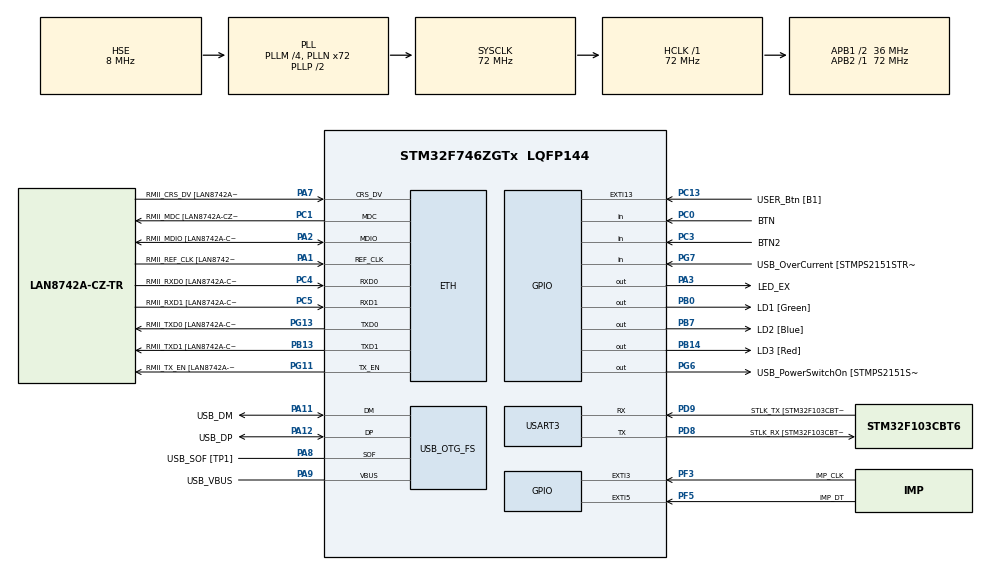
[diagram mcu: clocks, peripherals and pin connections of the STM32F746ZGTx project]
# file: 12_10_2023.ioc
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ETH.MediaInterface=HAL_ETH_RMII_MODE
ETH.PHY_Name=LAN8742A_PHY_ADDRESS
ETH.PHY_Value=0
ETH.PhyAddress=0
Mcu.Family=STM32F7
Mcu.Name=STM32F746ZGTx
Mcu.Package=LQFP144
NVIC.EXTI15_10_IRQn=true\:0\:0\:false\:false\:true\:true\:true\:true
NVIC.PriorityGroup=NVIC_PRIORITYGROUP_4
PA1.GPIO_Label=RMII_REF_CLK [LAN8742A-CZ-TR_REFCLK0]
PA1.Mode=RMII
PA1.Signal=ETH_REF_CLK
PA10.GPIO_Label=USB_ID
PA10.Signal=USB_OTG_FS_ID
PA11.GPIO_Label=USB_DM
PA11.Mode=Device_Only
PA11.Signal=USB_OTG_FS_DM
PA12.GPIO_Label=USB_DP
PA12.Mode=Device_Only
PA12.Signal=USB_OTG_FS_DP
PA13.GPIO_Label=TMS
PA13.Mode=Serial_Wire
PA13.Signal=SYS_JTMS-SWDIO
PA14.GPIO_Label=TCK
PA14.Mode=Serial_Wire
PA14.Signal=SYS_JTCK-SWCLK
PA2.GPIO_Label=RMII_MDIO [LAN8742A-CZ-TR_MDIO]
PA2.Mode=RMII
PA2.Signal=ETH_MDIO
PA3.GPIO_Label=LED_EX
PA3.GPIO_ModeDefaultOutputPP=GPIO_MODE_OUTPUT_PP
PA3.GPIO_PuPd=GPIO_NOPULL
PA3.Signal=GPIO_Output
PA7.GPIO_Label=RMII_CRS_DV [LAN8742A-CZ-TR_CRS_DV]
PA7.Mode=RMII
PA7.Signal=ETH_CRS_DV
PA8.GPIO_Label=USB_SOF [TP1]
PA8.Mode=Activate_SOF_FS
PA8.Signal=USB_OTG_FS_SOF
PA9.GPIO_Label=USB_VBUS
PA9.Mode=Activate_VBUS
PA9.Signal=USB_OTG_FS_VBUS
PB0.GPIO_Label=LD1 [Green]
PB0.Signal=GPIO_Output
PB13.GPIO_Label=RMII_TXD1 [LAN8742A-CZ-TR_TXD1]
PB13.Mode=RMII
PB13.Signal=ETH_TXD1
PB14.GPIO_Label=LD3 [Red]
PB14.Signal=GPIO_Output
PB3.GPIO_Label=SW0
PB3.Signal=SYS_JTDO-SWO
PB7.GPIO_Label=LD2 [Blue]
PB7.Signal=GPIO_Output
PC0.GPIO_Label=BTN
PC0.GPIO_PuPd=GPIO_PULLUP
PC0.Signal=GPIO_Input
PC1.GPIO_Label=RMII_MDC [LAN8742A-CZ-TR_MDC]
PC1.Mode=RMII
PC1.Signal=ETH_MDC
PC13.GPIO_Label=USER_Btn [B1]
PC13.Signal=GPXTI13
PC14/OSC32_IN.Mode=LSE-External-Oscillator
PC14/OSC32_IN.Signal=RCC_OSC32_IN
PC15/OSC32_OUT.Mode=LSE-External-Oscillator
PC15/OSC32_OUT.Signal=RCC_OSC32_OUT
PC3.GPIO_Label=BTN2
PC3.GPIO_PuPd=GPIO_PULLDOWN
PC3.Signal=GPIO_Input
PC4.GPIO_Label=RMII_RXD0 [LAN8742A-CZ-TR_RXD0]
PC4.Mode=RMII
PC4.Signal=ETH_RXD0
PC5.GPIO_Label=RMII_RXD1 [LAN8742A-CZ-TR_RXD1]
PC5.Mode=RMII
PC5.Signal=ETH_RXD1
PD8.GPIO_Label=STLK_RX [STM32F103CBT6_PA3]
PD8.GPIO_PuPd=GPIO_PULLUP
PD8.Mode=Asynchronous
PD8.Signal=USART3_TX
PD9.GPIO_Label=STLK_TX [STM32F103CBT6_PA2]
PD9.GPIO_PuPd=GPIO_PULLUP
PD9.Mode=Asynchronous
PD9.Signal=USART3_RX
PF3.GPIO_Label=IMP_CLK
PF3.GPIO_ModeDefaultEXTI=GPIO_MODE_IT_RISING
PF3.GPIO_PuPd=GPIO_PULLUP
PF3.Signal=GPXTI3
PF5.GPIO_Label=IMP_DT
PF5.GPIO_ModeDefaultEXTI=GPIO_MODE_IT_RISING
PF5.GPIO_PuPd=GPIO_PULLUP
PF5.Signal=GPXTI5
PG11.GPIO_Label=RMII_TX_EN [LAN8742A-CZ-TR_TXEN]
PG11.Mode=RMII
PG11.Signal=ETH_TX_EN
PG13.GPIO_Label=RMII_TXD0 [LAN8742A-CZ-TR_TXD0]
PG13.Mode=RMII
PG13.Signal=ETH_TXD0
PG6.GPIO_Label=USB_PowerSwitchOn [STMPS2151STR_EN]
PG6.Signal=GPIO_Output
PG7.GPIO_Label=USB_OverCurrent [STMPS2151STR_FAULT]
PG7.Signal=GPIO_Input
PH0/OSC_IN.GPIO_Label=MCO [STM32F103CBT6_PA8]
PH0/OSC_IN.Mode=HSE-External-Clock-Source
PH0/OSC_IN.Signal=RCC_OSC_IN
PH1/OSC_OUT.Mode=HSE-External-Clock-Source
PH1/OSC_OUT.Signal=RCC_OSC_OUT
ProjectManager.HeapSize=0x200
ProjectManager.StackSize=0x400
ProjectManager.TargetToolchain=STM32CubeIDE
RCC.48MHZClocksFreq_Value=24000000
RCC.AHBFreq_Value=72000000
RCC.APB1CLKDivider=RCC_HCLK_DIV2
RCC.APB1Freq_Value=36000000
RCC.APB1TimFreq_Value=72000000
RCC.APB2Freq_Value=72000000
RCC.APB2TimFreq_Value=72000000
RCC.CortexFreq_Value=72000000
RCC.HCLKFreq_Value=72000000
RCC.HSE_VALUE=8000000
RCC.HSI_VALUE=16000000
RCC.PLLM=4
RCC.PLLMUL=RCC_PLL_MUL9
RCC.PLLN=72
RCC.PLLQ=3
RCC.PRESCALERUSB=RCC_USBCLKSOURCE_PLL_DIV1_5
RCC.SYSCLKFreq_VALUE=72000000
RCC.SYSCLKSource=RCC_SYSCLKSOURCE_PLLCLK
RCC.SYSCLKSourceVirtual=RCC_SYSCLKSOURCE_PLLCLK
RCC.USBFreq_Value=48000000
RCC.VCOOutputFreq_Value=144000000
USART3.VirtualMode-Asynchronous=VM_ASYNC
USB_OTG_FS.VirtualMode=Device_Only
board=NUCLEO-F746ZG

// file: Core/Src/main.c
/* USER CODE BEGIN Header */
/**
  ******************************************************************************
  * @file           : main.c
  * @brief          : Main program body
  ******************************************************************************
  * @attention
  *
  * Copyright (c) 2023 STMicroelectronics.
  * All rights reserved.
  *
  * This software is licensed under terms that can be found in the LICENSE file
  * in the root directory of this software component.
  * If no LICENSE file comes with this software, it is provided AS-IS.
  *
  ******************************************************************************
  */
/* USER CODE END Header */
#include "main.h"
#include "string.h"

#if defined ( __ICCARM__ ) /*!< IAR Compiler */
#pragma location=0x2004c000
ETH_DMADescTypeDef  DMARxDscrTab[ETH_RX_DESC_CNT]; /* Ethernet Rx DMA Descriptors */
#pragma location=0x2004c0a0
ETH_DMADescTypeDef  DMATxDscrTab[ETH_TX_DESC_CNT]; /* Ethernet Tx DMA Descriptors */

#elif defined ( __CC_ARM )  /* MDK ARM Compiler */

__attribute__((at(0x2004c000))) ETH_DMADescTypeDef  DMARxDscrTab[ETH_RX_DESC_CNT]; /* Ethernet Rx DMA Descriptors */
__attribute__((at(0x2004c0a0))) ETH_DMADescTypeDef  DMATxDscrTab[ETH_TX_DESC_CNT]; /* Ethernet Tx DMA Descriptors */

#elif defined ( __GNUC__ ) /* GNU Compiler */
ETH_DMADescTypeDef DMARxDscrTab[ETH_RX_DESC_CNT] __attribute__((section(".RxDecripSection"))); /* Ethernet Rx DMA Descriptors */
ETH_DMADescTypeDef DMATxDscrTab[ETH_TX_DESC_CNT] __attribute__((section(".TxDecripSection")));   /* Ethernet Tx DMA Descriptors */

#endif

ETH_TxPacketConfig TxConfig;

ETH_HandleTypeDef heth;

UART_HandleTypeDef huart3;

PCD_HandleTypeDef hpcd_USB_OTG_FS;

void SystemClock_Config(void);
static void MX_GPIO_Init(void);
static void MX_ETH_Init(void);
static void MX_USART3_UART_Init(void);
static void MX_USB_OTG_FS_PCD_Init(void);

/* USER CODE BEGIN 0 */

void zad1()
{
	HAL_Delay(100);
	HAL_GPIO_WritePin(LD1_GPIO_Port, LD1_Pin, GPIO_PIN_SET);
	HAL_GPIO_WritePin(LD2_GPIO_Port, LD2_Pin, GPIO_PIN_RESET);
	HAL_GPIO_WritePin(LD3_GPIO_Port, LD3_Pin, GPIO_PIN_RESET);
	HAL_Delay(100);
	HAL_GPIO_WritePin(LD1_GPIO_Port, LD1_Pin, GPIO_PIN_RESET);
	HAL_GPIO_WritePin(LD2_GPIO_Port, LD2_Pin, GPIO_PIN_SET);
	HAL_GPIO_WritePin(LD3_GPIO_Port, LD3_Pin, GPIO_PIN_RESET);
	HAL_Delay(100);
	HAL_GPIO_WritePin(LD1_GPIO_Port, LD1_Pin, GPIO_PIN_RESET);
	HAL_GPIO_WritePin(LD2_GPIO_Port, LD2_Pin, GPIO_PIN_RESET);
	HAL_GPIO_WritePin(LD3_GPIO_Port, LD3_Pin, GPIO_PIN_SET);
}

void zad2()
{
	static _Bool prev_state = 0;
	_Bool state = HAL_GPIO_ReadPin(USER_Btn_GPIO_Port, USER_Btn_Pin);
	if(prev_state == 0 && state == 1)
	{
		HAL_GPIO_TogglePin(LD1_GPIO_Port, LD1_Pin);
		HAL_Delay(500);
	}
	prev_state = state;
}

_Bool switch_detected = 0;

void zad3()
{
	if(switch_detected)
	{
		HAL_GPIO_TogglePin(LD1_GPIO_Port, LD1_Pin);
		switch_detected = 0;
		HAL_Delay(500);
	}
}

void zad4()
{
	static _Bool prev_state = 0;
	_Bool state = HAL_GPIO_ReadPin(BTN_GPIO_Port, BTN_Pin);
	if(prev_state == 0 && state == 1)
	{
		HAL_GPIO_TogglePin(LED_EX_GPIO_Port, LED_EX_Pin);
		HAL_Delay(500);
	}
	prev_state = state;
}

void zad5()
{
	static _Bool prev_state_btn1 = 0;
	static _Bool prev_state_btn2 = 0;
	_Bool state_btn1 = HAL_GPIO_ReadPin(BTN_GPIO_Port, BTN_Pin);
	_Bool state_btn2 = HAL_GPIO_ReadPin(BTN2_GPIO_Port, BTN2_Pin);
	if(prev_state_btn1 == 0 && state_btn1 == 1)
	{
		HAL_GPIO_WritePin(LED_EX_GPIO_Port, LED_EX_Pin, GPIO_PIN_SET);
		HAL_Delay(500);
	}
	if(prev_state_btn2 == 0 && state_btn2 == 1)
	{
		HAL_GPIO_WritePin(LED_EX_GPIO_Port, LED_EX_Pin, GPIO_PIN_RESET);
		HAL_Delay(500);
	}
	prev_state_btn1 = state_btn1;
	prev_state_btn2 = state_btn2;
}

uint32_t freq = 1000;

void zad6()
{
	HAL_Delay(freq);
	HAL_GPIO_TogglePin(LED_EX_GPIO_Port, LED_EX_Pin);
}

/* USER CODE END 0 */

int main(void)
{

  /* MCU Configuration--------------------------------------------------------*/

  /* Reset of all peripherals, Initializes the Flash interface and the Systick. */
  HAL_Init();

  /* Configure the system clock */
  SystemClock_Config();

  /* Initialize all configured peripherals */
  MX_GPIO_Init();
  MX_ETH_Init();
  MX_USART3_UART_Init();
  MX_USB_OTG_FS_PCD_Init();

  /* Infinite loop */
  /* USER CODE BEGIN WHILE */
  while (1)
  {
	/* migaj na przemian ledami LD1, LD2, LD3 co 100 ms */
	HAL_Delay(100);
	HAL_GPIO_WritePin(LD1_GPIO_Port, LD1_Pin, GPIO_PIN_SET);
	HAL_GPIO_WritePin(LD2_GPIO_Port, LD2_Pin, GPIO_PIN_RESET);
	HAL_GPIO_WritePin(LD3_GPIO_Port, LD3_Pin, GPIO_PIN_RESET);
	HAL_Delay(100);
	HAL_GPIO_WritePin(LD1_GPIO_Port, LD1_Pin, GPIO_PIN_RESET);
	HAL_GPIO_WritePin(LD2_GPIO_Port, LD2_Pin, GPIO_PIN_SET);
	HAL_GPIO_WritePin(LD3_GPIO_Port, LD3_Pin, GPIO_PIN_RESET);
	HAL_Delay(100);
	HAL_GPIO_WritePin(LD1_GPIO_Port, LD1_Pin, GPIO_PIN_RESET);
	HAL_GPIO_WritePin(LD2_GPIO_Port, LD2_Pin, GPIO_PIN_RESET);
	HAL_GPIO_WritePin(LD3_GPIO_Port, LD3_Pin, GPIO_PIN_SET);
    /* USER CODE END WHILE */

  }
}

void SystemClock_Config(void)
{
  RCC_OscInitTypeDef RCC_OscInitStruct = {0};
  RCC_ClkInitTypeDef RCC_ClkInitStruct = {0};

  /** Configure LSE Drive Capability
  */
  HAL_PWR_EnableBkUpAccess();

  /** Configure the main internal regulator output voltage
  */
  __HAL_RCC_PWR_CLK_ENABLE();
  __HAL_PWR_VOLTAGESCALING_CONFIG(PWR_REGULATOR_VOLTAGE_SCALE3);

  /** Initializes the RCC Oscillators according to the specified parameters
  * in the RCC_OscInitTypeDef structure.
  */
  RCC_OscInitStruct.OscillatorType = RCC_OSCILLATORTYPE_HSE;
  RCC_OscInitStruct.HSEState = RCC_HSE_BYPASS;
  RCC_OscInitStruct.PLL.PLLState = RCC_PLL_ON;
  RCC_OscInitStruct.PLL.PLLSource = RCC_PLLSOURCE_HSE;
  RCC_OscInitStruct.PLL.PLLM = 4;
  RCC_OscInitStruct.PLL.PLLN = 72;
  RCC_OscInitStruct.PLL.PLLP = RCC_PLLP_DIV2;
  RCC_OscInitStruct.PLL.PLLQ = 3;
  if (HAL_RCC_OscConfig(&RCC_OscInitStruct) != HAL_OK)
  {
    Error_Handler();
  }

  /** Initializes the CPU, AHB and APB buses clocks
  */
  RCC_ClkInitStruct.ClockType = RCC_CLOCKTYPE_HCLK|RCC_CLOCKTYPE_SYSCLK
                              |RCC_CLOCKTYPE_PCLK1|RCC_CLOCKTYPE_PCLK2;
  RCC_ClkInitStruct.SYSCLKSource = RCC_SYSCLKSOURCE_PLLCLK;
  RCC_ClkInitStruct.AHBCLKDivider = RCC_SYSCLK_DIV1;
  RCC_ClkInitStruct.APB1CLKDivider = RCC_HCLK_DIV2;
  RCC_ClkInitStruct.APB2CLKDivider = RCC_HCLK_DIV1;

  if (HAL_RCC_ClockConfig(&RCC_ClkInitStruct, FLASH_LATENCY_2) != HAL_OK)
  {
    Error_Handler();
  }
}

static void MX_ETH_Init(void)
{

   static uint8_t MACAddr[6];

  heth.Instance = ETH;
  MACAddr[0] = 0x00;
  MACAddr[1] = 0x80;
  MACAddr[2] = 0xE1;
  MACAddr[3] = 0x00;
  MACAddr[4] = 0x00;
  MACAddr[5] = 0x00;
  heth.Init.MACAddr = &MACAddr[0];
  heth.Init.MediaInterface = HAL_ETH_RMII_MODE;
  heth.Init.TxDesc = DMATxDscrTab;
  heth.Init.RxDesc = DMARxDscrTab;
  heth.Init.RxBuffLen = 1524;

  if (HAL_ETH_Init(&heth) != HAL_OK)
  {
    Error_Handler();
  }

  memset(&TxConfig, 0 , sizeof(ETH_TxPacketConfig));
  TxConfig.Attributes = ETH_TX_PACKETS_FEATURES_CSUM | ETH_TX_PACKETS_FEATURES_CRCPAD;
  TxConfig.ChecksumCtrl = ETH_CHECKSUM_IPHDR_PAYLOAD_INSERT_PHDR_CALC;
  TxConfig.CRCPadCtrl = ETH_CRC_PAD_INSERT;

}

static void MX_USART3_UART_Init(void)
{

  huart3.Instance = USART3;
  huart3.Init.BaudRate = 115200;
  huart3.Init.WordLength = UART_WORDLENGTH_8B;
  huart3.Init.StopBits = UART_STOPBITS_1;
  huart3.Init.Parity = UART_PARITY_NONE;
  huart3.Init.Mode = UART_MODE_TX_RX;
  huart3.Init.HwFlowCtl = UART_HWCONTROL_NONE;
  huart3.Init.OverSampling = UART_OVERSAMPLING_16;
  huart3.Init.OneBitSampling = UART_ONE_BIT_SAMPLE_DISABLE;
  huart3.AdvancedInit.AdvFeatureInit = UART_ADVFEATURE_NO_INIT;
  if (HAL_UART_Init(&huart3) != HAL_OK)
  {
    Error_Handler();
  }

}

static void MX_USB_OTG_FS_PCD_Init(void)
{

  hpcd_USB_OTG_FS.Instance = USB_OTG_FS;
  hpcd_USB_OTG_FS.Init.dev_endpoints = 6;
  hpcd_USB_OTG_FS.Init.speed = PCD_SPEED_FULL;
  hpcd_USB_OTG_FS.Init.dma_enable = DISABLE;
  hpcd_USB_OTG_FS.Init.phy_itface = PCD_PHY_EMBEDDED;
  hpcd_USB_OTG_FS.Init.Sof_enable = ENABLE;
  hpcd_USB_OTG_FS.Init.low_power_enable = DISABLE;
  hpcd_USB_OTG_FS.Init.lpm_enable = DISABLE;
  hpcd_USB_OTG_FS.Init.vbus_sensing_enable = ENABLE;
  hpcd_USB_OTG_FS.Init.use_dedicated_ep1 = DISABLE;
  if (HAL_PCD_Init(&hpcd_USB_OTG_FS) != HAL_OK)
  {
    Error_Handler();
  }

}

static void MX_GPIO_Init(void)
{
  GPIO_InitTypeDef GPIO_InitStruct = {0};

  /* GPIO Ports Clock Enable */
  __HAL_RCC_GPIOC_CLK_ENABLE();
  __HAL_RCC_GPIOF_CLK_ENABLE();
  __HAL_RCC_GPIOH_CLK_ENABLE();
  __HAL_RCC_GPIOA_CLK_ENABLE();
  __HAL_RCC_GPIOB_CLK_ENABLE();
  __HAL_RCC_GPIOD_CLK_ENABLE();
  __HAL_RCC_GPIOG_CLK_ENABLE();

  /*Configure GPIO pin Output Level */
  HAL_GPIO_WritePin(LED_EX_GPIO_Port, LED_EX_Pin, GPIO_PIN_RESET);

  /*Configure GPIO pin Output Level */
  HAL_GPIO_WritePin(GPIOB, LD1_Pin|LD3_Pin|LD2_Pin, GPIO_PIN_RESET);

  /*Configure GPIO pin Output Level */
  HAL_GPIO_WritePin(USB_PowerSwitchOn_GPIO_Port, USB_PowerSwitchOn_Pin, GPIO_PIN_RESET);

  /*Configure GPIO pin : USER_Btn_Pin */
  GPIO_InitStruct.Pin = USER_Btn_Pin;
  GPIO_InitStruct.Mode = GPIO_MODE_IT_RISING;
  GPIO_InitStruct.Pull = GPIO_NOPULL;
  HAL_GPIO_Init(USER_Btn_GPIO_Port, &GPIO_InitStruct);

  /*Configure GPIO pins : IMP_CLK_Pin IMP_DT_Pin */
  GPIO_InitStruct.Pin = IMP_CLK_Pin|IMP_DT_Pin;
  GPIO_InitStruct.Mode = GPIO_MODE_IT_RISING;
  GPIO_InitStruct.Pull = GPIO_PULLUP;
  HAL_GPIO_Init(GPIOF, &GPIO_InitStruct);

  /*Configure GPIO pin : BTN_Pin */
  GPIO_InitStruct.Pin = BTN_Pin;
  GPIO_InitStruct.Mode = GPIO_MODE_INPUT;
  GPIO_InitStruct.Pull = GPIO_PULLUP;
  HAL_GPIO_Init(BTN_GPIO_Port, &GPIO_InitStruct);

  /*Configure GPIO pin : BTN2_Pin */
  GPIO_InitStruct.Pin = BTN2_Pin;
  GPIO_InitStruct.Mode = GPIO_MODE_INPUT;
  GPIO_InitStruct.Pull = GPIO_PULLDOWN;
  HAL_GPIO_Init(BTN2_GPIO_Port, &GPIO_InitStruct);

  /*Configure GPIO pin : LED_EX_Pin */
  GPIO_InitStruct.Pin = LED_EX_Pin;
  GPIO_InitStruct.Mode = GPIO_MODE_OUTPUT_PP;
  GPIO_InitStruct.Pull = GPIO_NOPULL;
  GPIO_InitStruct.Speed = GPIO_SPEED_FREQ_LOW;
  HAL_GPIO_Init(LED_EX_GPIO_Port, &GPIO_InitStruct);

  /*Configure GPIO pins : LD1_Pin LD3_Pin LD2_Pin */
  GPIO_InitStruct.Pin = LD1_Pin|LD3_Pin|LD2_Pin;
  GPIO_InitStruct.Mode = GPIO_MODE_OUTPUT_PP;
  GPIO_InitStruct.Pull = GPIO_NOPULL;
  GPIO_InitStruct.Speed = GPIO_SPEED_FREQ_LOW;
  HAL_GPIO_Init(GPIOB, &GPIO_InitStruct);

  /*Configure GPIO pin : USB_PowerSwitchOn_Pin */
  GPIO_InitStruct.Pin = USB_PowerSwitchOn_Pin;
  GPIO_InitStruct.Mode = GPIO_MODE_OUTPUT_PP;
  GPIO_InitStruct.Pull = GPIO_NOPULL;
  GPIO_InitStruct.Speed = GPIO_SPEED_FREQ_LOW;
  HAL_GPIO_Init(USB_PowerSwitchOn_GPIO_Port, &GPIO_InitStruct);

  /*Configure GPIO pin : USB_OverCurrent_Pin */
  GPIO_InitStruct.Pin = USB_OverCurrent_Pin;
  GPIO_InitStruct.Mode = GPIO_MODE_INPUT;
  GPIO_InitStruct.Pull = GPIO_NOPULL;
  HAL_GPIO_Init(USB_OverCurrent_GPIO_Port, &GPIO_InitStruct);

  /* EXTI interrupt init*/
  HAL_NVIC_SetPriority(EXTI15_10_IRQn, 0, 0);
  HAL_NVIC_EnableIRQ(EXTI15_10_IRQn);

}

/* USER CODE BEGIN 4 */
void HAL_GPIO_EXTI_Callback ( uint16_t GPIO_Pin )
{
	if(GPIO_Pin == USER_Btn_Pin)
	{
		switch_detected = 1;
	}
	static _Bool clk_detected = 0;
	if(GPIO_Pin == IMP_CLK_Pin)
	{
		clk_detected = 1;
	}
	if(GPIO_Pin == IMP_DT_Pin && clk_detected)
	{
		freq -= 100;
		if(freq < 100) freq = 100;
	}
	else if(GPIO_Pin == IMP_DT_Pin)
	{
		freq += 100;
		if(freq > 1000) freq = 1000;
	}
}
/* USER CODE END 4 */

void Error_Handler(void)
{
  __disable_irq();
  while (1)
  {
  }
}
